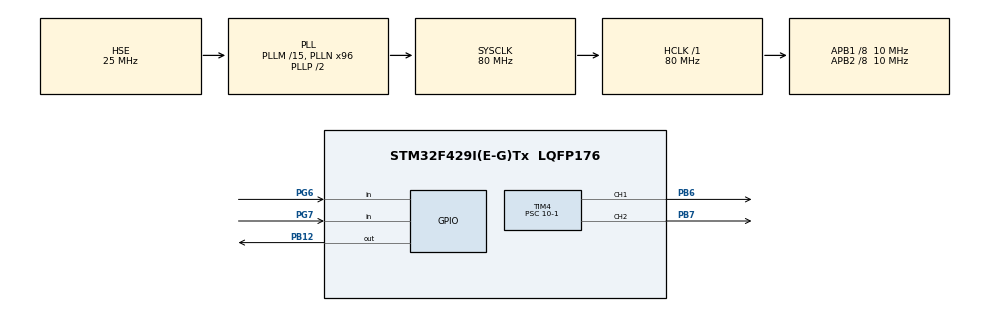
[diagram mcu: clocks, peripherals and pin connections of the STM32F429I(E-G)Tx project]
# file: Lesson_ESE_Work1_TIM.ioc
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Mcu.Family=STM32F4
Mcu.Name=STM32F429I(E-G)Tx
Mcu.Package=LQFP176
NVIC.PriorityGroup=NVIC_PRIORITYGROUP_4
NVIC.TIM4_IRQn=true\:0\:0\:false\:false\:true\:true\:true\:true
PB12.Signal=GPIO_Output
PB6.Signal=S_TIM4_CH1
PB7.Signal=S_TIM4_CH2
PG6.Signal=GPIO_Input
PG7.Signal=GPIO_Input
PH0/OSC_IN.Mode=HSE-External-Oscillator
PH0/OSC_IN.Signal=RCC_OSC_IN
PH1/OSC_OUT.Mode=HSE-External-Oscillator
PH1/OSC_OUT.Signal=RCC_OSC_OUT
ProjectManager.HeapSize=0x200
ProjectManager.StackSize=0x400
ProjectManager.TargetToolchain=MDK-ARM V5.32
RCC.48MHZClocksFreq_Value=40000000
RCC.AHBFreq_Value=80000000
RCC.APB1CLKDivider=RCC_HCLK_DIV8
RCC.APB1Freq_Value=10000000
RCC.APB1TimFreq_Value=20000000
RCC.APB2CLKDivider=RCC_HCLK_DIV8
RCC.APB2Freq_Value=10000000
RCC.APB2TimFreq_Value=20000000
RCC.CortexFreq_Value=80000000
RCC.HCLKFreq_Value=80000000
RCC.HSE_VALUE=25000000
RCC.HSI_VALUE=16000000
RCC.LSE_VALUE=32768
RCC.PLLM=15
RCC.PLLN=96
RCC.PLLSourceVirtual=RCC_PLLSOURCE_HSE
RCC.SYSCLKFreq_VALUE=80000000
RCC.SYSCLKSource=RCC_SYSCLKSOURCE_PLLCLK
RCC.VCOOutputFreq_Value=160000000
SH.S_TIM4_CH1.0=TIM4_CH1,PWM Generation1 CH1
SH.S_TIM4_CH2.0=TIM4_CH2,PWM Generation2 CH2
TIM4.Channel-PWM\ Generation1\ CH1=TIM_CHANNEL_1
TIM4.Channel-PWM\ Generation2\ CH2=TIM_CHANNEL_2
TIM4.Period=20000
TIM4.Prescaler=10-1
TIM4.Pulse-PWM\ Generation1\ CH1=0
TIM4.Pulse-PWM\ Generation2\ CH2=0
board=custom

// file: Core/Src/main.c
/* USER CODE BEGIN Header */
/**
  ******************************************************************************
  * @file           : main.c
  * @brief          : Main program body
  ******************************************************************************
  * @attention
  *
  * Copyright (c) 2022 STMicroelectronics.
  * All rights reserved.
  *
  * This software is licensed under terms that can be found in the LICENSE file
  * in the root directory of this software component.
  * If no LICENSE file comes with this software, it is provided AS-IS.
  *
  ******************************************************************************
  */
/* USER CODE END Header */
#include "main.h"
#include "tim.h"
#include "gpio.h"

/* USER CODE BEGIN PM */
#define Key1_High()   (HAL_GPIO_ReadPin(GPIOG,GPIO_PIN_6)==GPIO_PIN_SET)
#define Key1_Low()    (HAL_GPIO_ReadPin(GPIOG,GPIO_PIN_6)==GPIO_PIN_RESET)

#define Key2_High()   (HAL_GPIO_ReadPin(GPIOG,GPIO_PIN_7)==GPIO_PIN_SET)
#define Key2_Low()    (HAL_GPIO_ReadPin(GPIOG,GPIO_PIN_7)==GPIO_PIN_RESET)

/* USER CODE END PM */

/* USER CODE BEGIN PV */
////uint32_t TIM_CRR_LOOP[4]={
////  20000,//0%
////  18000,//10%
////  10000,//50%
////  2000//90%
////};
uint32_t TIM_CRR_LOOP[4]={
  //20000,//100%
  18000,//90%
  10000,//50%
  2000,//10%
  0//0%
};
uint8_t state1;//auto
uint8_t state2;//auto

/* USER CODE END PV */

void SystemClock_Config(void);

int main(void)
{

  /* MCU Configuration--------------------------------------------------------*/

  /* Reset of all peripherals, Initializes the Flash interface and the Systick. */
  HAL_Init();

  /* Configure the system clock */
  SystemClock_Config();

  /* Initialize all configured peripherals */
  MX_GPIO_Init();
  MX_TIM4_Init();
  /* USER CODE BEGIN 2 */
  HAL_TIM_PWM_Start(&htim4,TIM_CHANNEL_2);//PB7
  HAL_TIM_PWM_Start(&htim4,TIM_CHANNEL_1);//PB6

  /* USER CODE END 2 */

  /* Infinite loop */
  while (1) {

    /* USER CODE BEGIN 3 */
    if(Key1_Low()){//消抖PlanB
      HAL_Delay(10);
      if(Key1_Low()){
        TIM4->CCR1=TIM_CRR_LOOP[state1];
        state1=(state1+1)%4;
        do{
          while(Key1_Low());
          HAL_Delay(10);
        }while(Key1_Low());
      }
    }//if(Key1_Low())
    if(Key2_Low()){//消抖PlanB
      HAL_Delay(10);
      if(Key2_Low()){
        TIM4->CCR2=TIM_CRR_LOOP[state2];
        state2=(state2+1)%4;
        do{
          while(Key2_Low());
          HAL_Delay(10);
        }while(Key2_Low());
      }
    }//if(Key2_Low())
////    HAL_GPIO_WritePin(GPIOB,GPIO_PIN_6,GPIO_PIN_SET);
////    HAL_Delay(1000);
////    HAL_GPIO_WritePin(GPIOB,GPIO_PIN_6,GPIO_PIN_RESET);
////		HAL_Delay(1000);

    //state pointer
    // HAL_GPIO_WritePin(GPIOB,GPIO_PIN_12,GPIO_PIN_SET);
    // HAL_Delay(200);
    // HAL_GPIO_WritePin(GPIOB,GPIO_PIN_12,GPIO_PIN_RESET);

  }
  /* USER CODE END 3 */
}

void SystemClock_Config(void)
{
  RCC_OscInitTypeDef RCC_OscInitStruct = {0};
  RCC_ClkInitTypeDef RCC_ClkInitStruct = {0};

  /** Configure the main internal regulator output voltage
  */
  __HAL_RCC_PWR_CLK_ENABLE();
  __HAL_PWR_VOLTAGESCALING_CONFIG(PWR_REGULATOR_VOLTAGE_SCALE3);

  /** Initializes the RCC Oscillators according to the specified parameters
  * in the RCC_OscInitTypeDef structure.
  */
  RCC_OscInitStruct.OscillatorType = RCC_OSCILLATORTYPE_HSE;
  RCC_OscInitStruct.HSEState = RCC_HSE_ON;
  RCC_OscInitStruct.PLL.PLLState = RCC_PLL_ON;
  RCC_OscInitStruct.PLL.PLLSource = RCC_PLLSOURCE_HSE;
  RCC_OscInitStruct.PLL.PLLM = 15;
  RCC_OscInitStruct.PLL.PLLN = 96;
  RCC_OscInitStruct.PLL.PLLP = RCC_PLLP_DIV2;
  RCC_OscInitStruct.PLL.PLLQ = 4;
  if (HAL_RCC_OscConfig(&RCC_OscInitStruct) != HAL_OK)
  {
    Error_Handler();
  }

  /** Initializes the CPU, AHB and APB buses clocks
  */
  RCC_ClkInitStruct.ClockType = RCC_CLOCKTYPE_HCLK|RCC_CLOCKTYPE_SYSCLK
                              |RCC_CLOCKTYPE_PCLK1|RCC_CLOCKTYPE_PCLK2;
  RCC_ClkInitStruct.SYSCLKSource = RCC_SYSCLKSOURCE_PLLCLK;
  RCC_ClkInitStruct.AHBCLKDivider = RCC_SYSCLK_DIV1;
  RCC_ClkInitStruct.APB1CLKDivider = RCC_HCLK_DIV8;
  RCC_ClkInitStruct.APB2CLKDivider = RCC_HCLK_DIV8;

  if (HAL_RCC_ClockConfig(&RCC_ClkInitStruct, FLASH_LATENCY_2) != HAL_OK)
  {
    Error_Handler();
  }
}

void Error_Handler(void)
{
  __disable_irq();
  while (1)
  {
  }
}
